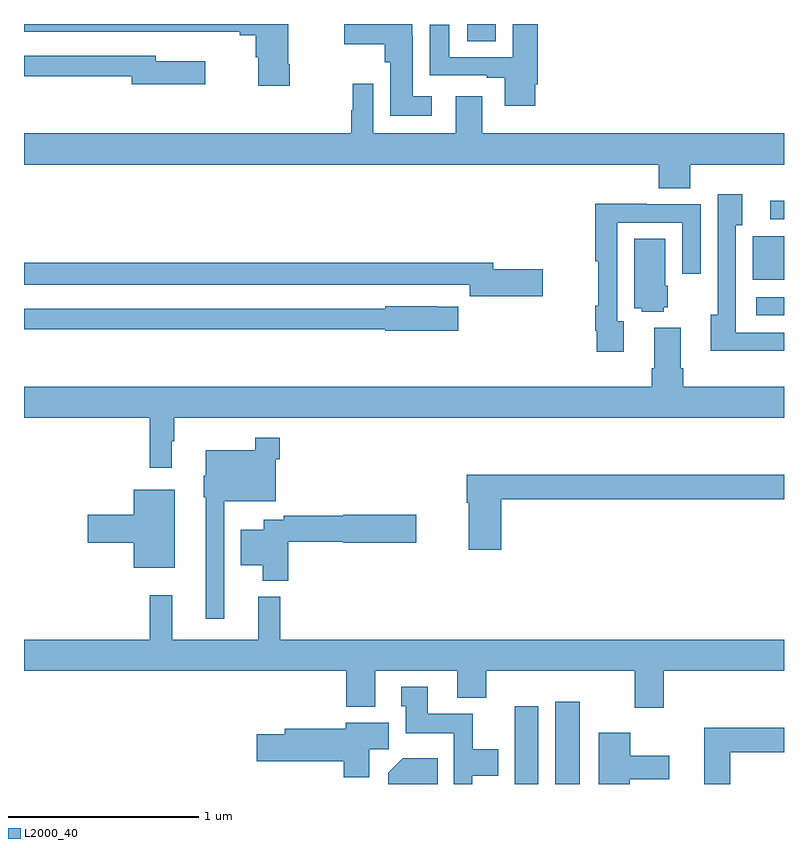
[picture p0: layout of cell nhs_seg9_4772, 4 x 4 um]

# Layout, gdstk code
import gdstk
lib = gdstk.Library(unit=1e-6, precision=1e-09)
def R(c, l, rs):  # rectangles x0, y0, x1, y1
    for r in rs: c.add(gdstk.rectangle(r[:2], r[2:], *l))
def P(c, l, *ps):  # polygons
    for p in ps: c.add(gdstk.Polygon(p, *l))
L2000_40 = (2000, 40)

nhs_seg9_4772 = lib.new_cell('nhs_seg9_4772')
R(nhs_seg9_4772, L2000_40, [(389.582,1186.5,389.707,1186.909), (389.795,1186.5,389.926,1186.933), (390.855,1188.966,391,1189.062), (390.836,1189.155,391,1189.383), (390.927,1189.473,391,1189.571), (389.333,1190.41,389.482,1190.5)])
P(nhs_seg9_4772, L2000_40, [(388.398,1190.287),(388.39,1190.287),(388.39,1190.5),(387,1190.5),(387,1190.46),(387.79,1190.46),(387.79,1190.459),(388.136,1190.459),(388.136,1190.44),(388.22,1190.44),(388.22,1190.325),(388.232,1190.325),(388.232,1190.175),(388.398,1190.175)],
  [(389.692,1190.182),(389.705,1190.182),(389.705,1190.5),(389.573,1190.5),(389.573,1190.325),(389.239,1190.325),(389.239,1190.497),(389.135,1190.497),(389.135,1190.229),(389.435,1190.229),(389.435,1190.217),(389.531,1190.217),(389.531,1190.07),(389.692,1190.07)],
  [(389.146,1190.119),(389.047,1190.119),(389.047,1190.438),(389.043,1190.438),(389.043,1190.5),(388.686,1190.5),(388.686,1190.393),(388.898,1190.393),(388.898,1190.298),(388.928,1190.298),(388.928,1190.018),(389.146,1190.018)],
  [(387.955,1190.305),(387.694,1190.305),(387.694,1190.334),(387,1190.334),(387,1190.226),(387.566,1190.226),(387.566,1190.183),(387.955,1190.183)],
  [(390.506,1189.76),(391,1189.76),(391,1189.924),(389.413,1189.924),(389.413,1190.119),(389.273,1190.119),(389.273,1189.924),(388.839,1189.924),(388.839,1190.185),(388.731,1190.185),(388.731,1190.046),(388.723,1190.046),(388.723,1189.924),(387,1189.924),(387,1189.76),(390.341,1189.76),(390.341,1189.636),(390.506,1189.636)],
  [(391,1188.876),(390.747,1188.876),(390.747,1189.442),(390.781,1189.442),(390.781,1189.603),(390.651,1189.603),(390.651,1188.97),(390.614,1188.97),(390.614,1188.779),(391,1188.779)],
  [(390.157,1188.935),(390.123,1188.935),(390.123,1189.455),(390.465,1189.455),(390.465,1189.185),(390.561,1189.185),(390.561,1189.551),(390.277,1189.551),(390.277,1189.555),(390.007,1189.555),(390.007,1189.251),(390.022,1189.251),(390.022,1189.018),(390.007,1189.018),(390.007,1188.886),(390.015,1188.886),(390.015,1188.774),(390.157,1188.774)],
  [(390.366,1189.008),(390.388,1189.008),(390.388,1189.122),(390.376,1189.122),(390.376,1189.37),(390.212,1189.37),(390.212,1189.004),(390.252,1189.004),(390.252,1188.986),(390.366,1188.986)],
  [(389.731,1189.208),(389.47,1189.208),(389.47,1189.244),(387,1189.244),(387,1189.128),(389.345,1189.128),(389.345,1189.068),(389.446,1189.068),(389.446,1189.066),(389.731,1189.066)],
  [(389.285,1189.013),(389.174,1189.013),(389.174,1189.015),(388.902,1189.015),(388.902,1189.002),(387,1189.002),(387,1188.894),(388.902,1188.894),(388.902,1188.886),(389.285,1188.886)],
  [(387.778,1188.305),(387.79,1188.305),(387.79,1188.428),(391,1188.428),(391,1188.592),(390.47,1188.592),(390.47,1188.688),(390.457,1188.688),(390.457,1188.901),(390.317,1188.901),(390.317,1188.688),(390.305,1188.688),(390.305,1188.592),(387,1188.592),(387,1188.428),(387.661,1188.428),(387.661,1188.165),(387.778,1188.165)],
  [(388.053,1187.987),(388.326,1187.987),(388.326,1188.209),(388.346,1188.209),(388.346,1188.322),(388.218,1188.322),(388.218,1188.256),(387.956,1188.256),(387.956,1188.123),(387.947,1188.123),(387.947,1188.009),(387.956,1188.009),(387.956,1187.37),(388.053,1187.37)],
  [(389.513,1187.998),(391,1187.998),(391,1188.127),(389.33,1188.127),(389.33,1187.981),(389.342,1187.981),(389.342,1187.733),(389.513,1187.733)],
  [(387.793,1188.049),(387.578,1188.049),(387.578,1187.918),(387.336,1187.918),(387.336,1187.771),(387.578,1187.771),(387.578,1187.639),(387.793,1187.639)],
  [(388.391,1187.776),(388.68,1187.776),(388.68,1187.771),(389.065,1187.771),(389.065,1187.918),(388.68,1187.918),(388.68,1187.912),(388.366,1187.912),(388.366,1187.892),(388.262,1187.892),(388.262,1187.839),(388.142,1187.839),(388.142,1187.651),(388.256,1187.651),(388.256,1187.57),(388.391,1187.57)],
  [(390.368,1187.096),(391,1187.096),(391,1187.26),(388.349,1187.26),(388.349,1187.485),(388.232,1187.485),(388.232,1187.26),(387.779,1187.26),(387.779,1187.494),(387.661,1187.494),(387.661,1187.26),(387,1187.26),(387,1187.096),(388.697,1187.096),(388.697,1186.907),(388.849,1186.907),(388.849,1187.096),(389.279,1187.096),(389.279,1186.955),(389.432,1186.955),(389.432,1187.096),(390.215,1187.096),(390.215,1186.902),(390.368,1186.902)],
  [(389.358,1186.544),(389.497,1186.544),(389.497,1186.684),(389.361,1186.684),(389.361,1186.87),(389.125,1186.87),(389.125,1187.011),(388.985,1187.011),(388.985,1186.908),(389.009,1186.908),(389.009,1186.766),(389.262,1186.766),(389.262,1186.5),(389.358,1186.5)],
  [(388.816,1186.684),(388.921,1186.684),(388.921,1186.822),(388.694,1186.822),(388.694,1186.791),(388.373,1186.791),(388.373,1186.761),(388.224,1186.761),(388.224,1186.619),(388.682,1186.619),(388.682,1186.536),(388.816,1186.536)],
  [(390.716,1186.666),(391,1186.666),(391,1186.795),(390.581,1186.795),(390.581,1186.5),(390.716,1186.5)],
  [(390.188,1186.526),(390.397,1186.526),(390.397,1186.648),(390.19,1186.648),(390.19,1186.771),(390.026,1186.771),(390.026,1186.5),(390.188,1186.5)],
  [(389.177,1186.636),(388.994,1186.636),(388.916,1186.558),(388.916,1186.5),(389.177,1186.5)])

lib.write_gds('nhs_seg9_4772.gds')
